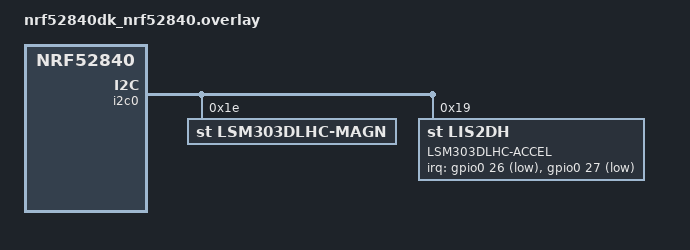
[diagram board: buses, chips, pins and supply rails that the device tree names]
/*
 * Copyright (c) 2019 Linaro Limited
 *
 * SPDX-License-Identifier: Apache-2.0
 */

&i2c0 {
	lsm303dlhc-magn@1e {
		compatible = "st,lsm303dlhc-magn";
		reg = < 0x1e >;
		label = "LSM303DLHC-MAGN";
	};
	lsm303dlhc-accel@19 {
		compatible = "st,lis2dh", "st,lsm303dlhc-accel";
		reg = < 0x19 >;
		irq-gpios = <&gpio0 26 GPIO_ACTIVE_LOW>, <&gpio0 27 GPIO_ACTIVE_LOW>;
		label = "LSM303DLHC-ACCEL";
	};
};
